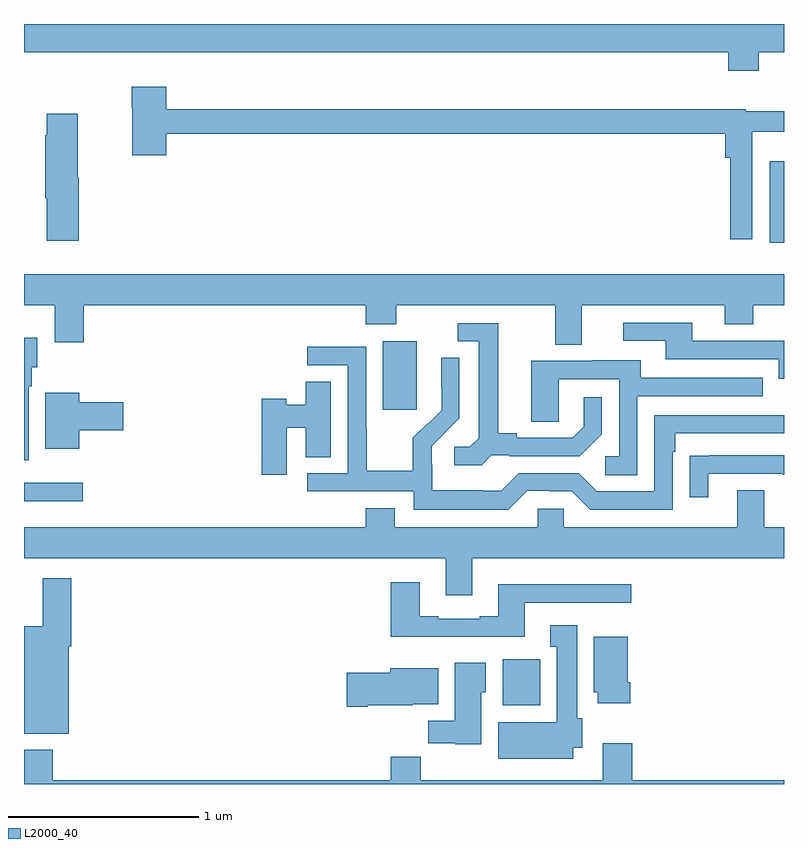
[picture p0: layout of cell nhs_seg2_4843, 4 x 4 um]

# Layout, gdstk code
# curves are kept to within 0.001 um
import gdstk
lib = gdstk.Library(unit=1e-6, precision=1e-09)
def R(c, l, rs):  # rectangles x0, y0, x1, y1
    for r in rs: c.add(gdstk.rectangle(r[:2], r[2:], *l))
def P(c, l, *ps):  # polygons
    for p in ps: c.add(gdstk.Polygon(p, *l))
L2000_40 = (2000, 40)

nhs_seg2_4843 = lib.new_cell('nhs_seg2_4843')
R(nhs_seg2_4843, L2000_40, [(377.519,628.214,377.716,628.456), (375,629.288,375.31,629.385), (376.889,629.769,377.068,630.13), (378.926,630.648,379,631.078)])
P(nhs_seg2_4843, L2000_40, [(378.867,631.652),(379,631.652),(379,631.8),(375,631.8),(375,631.652),(378.707,631.652),(378.707,631.553),(378.867,631.553)],
  [(378.834,631.232),(379,631.232),(379,631.342),(378.798,631.342),(378.798,631.351),(375.749,631.351),(375.749,631.471),(375.566,631.471),(375.566,631.358),(375.571,631.358),(375.571,631.11),(375.749,631.11),(375.749,631.222),(378.692,631.222),(378.692,631.097),(378.718,631.097),(378.718,630.666),(378.834,630.666)],
  [(375.287,630.993),(375.282,630.993),(375.282,631.327),(375.119,631.327),(375.119,631.214),(375.112,631.214),(375.112,630.883),(375.119,630.883),(375.119,630.66),(375.287,630.66)],
  [(377.935,630.32),(378.689,630.32),(378.689,630.221),(378.837,630.221),(378.837,630.32),(379,630.32),(379,630.484),(375,630.484),(375,630.32),(375.161,630.32),(375.161,630.126),(375.314,630.126),(375.314,630.32),(376.799,630.32),(376.799,630.221),(376.959,630.221),(376.959,630.32),(377.795,630.32),(377.795,630.112),(377.935,630.112)],
  [(379,630.132),(378.517,630.132),(378.517,630.228),(378.153,630.228),(378.153,630.132),(378.377,630.132),(378.377,630.036),(378.972,630.036),(378.972,629.933),(379,629.933)],
  [(377.46,629.529),(377.554,629.529),(377.554,629.526),(377.926,629.526),(378.042,629.642),(378.042,629.836),(377.945,629.836),(377.945,629.679),(377.888,629.622),(377.593,629.622),(377.593,629.645),(377.497,629.645),(377.497,630.225),(377.283,630.225),(377.283,630.129),(377.393,630.129),(377.393,629.621),(377.346,629.574),(377.265,629.574),(377.265,629.477),(377.408,629.477)],
  [(375.025,629.894),(375.04,629.894),(375.04,629.994),(375.07,629.994),(375.07,630.148),(375,630.148),(375,629.505),(375.025,629.505)],
  [(377.649,629.343),(377.765,629.343),(377.765,629.34),(377.883,629.34),(377.979,629.244),(378.414,629.244),(378.414,629.549),(378.427,629.549),(378.427,629.646),(379,629.646),(379,629.742),(378.318,629.742),(378.318,629.34),(378.015,629.34),(377.919,629.436),(377.604,629.436),(377.511,629.343),(377.411,629.343),(377.411,629.347),(377.148,629.347),(377.148,629.481),(377.146,629.481),(377.146,629.578),(377.292,629.726),(377.292,630.044),(377.196,630.044),(377.196,629.89),(377.198,629.89),(377.198,629.768),(377.127,629.697),(377.124,629.7),(377.047,629.623),(377.047,629.449),(376.803,629.449),(376.803,629.672),(376.8,629.672),(376.8,630.102),(376.491,630.102),(376.491,630.003),(376.704,630.003),(376.704,629.436),(376.491,629.436),(376.491,629.34),(377.052,629.34),(377.052,629.243),(377.549,629.243)],
  [(378.228,629.841),(378.887,629.841),(378.887,629.937),(378.247,629.937),(378.247,630.031),(377.993,630.031),(377.993,630.027),(377.669,630.027),(377.669,629.707),(377.814,629.707),(377.814,629.931),(378.132,629.931),(378.132,629.526),(378.06,629.526),(378.06,629.425),(378.228,629.425)],
  [(376.384,629.675),(376.484,629.675),(376.484,629.521),(376.615,629.521),(376.615,629.918),(376.484,629.918),(376.484,629.797),(376.38,629.797),(376.38,629.828),(376.25,629.828),(376.25,629.427),(376.384,629.427)],
  [(375.292,629.663),(375.523,629.663),(375.523,629.81),(375.292,629.81),(375.292,629.86),(375.113,629.86),(375.113,629.564),(375.292,629.564)],
  [(378.601,629.433),(378.991,629.433),(378.991,629.428),(379,629.428),(379,629.529),(378.607,629.529),(378.607,629.528),(378.505,629.528),(378.505,629.31),(378.601,629.31)],
  [(377.359,628.988),(379,628.988),(379,629.152),(378.895,629.152),(378.895,629.347),(378.755,629.347),(378.755,629.152),(377.841,629.152),(377.841,629.25),(377.703,629.25),(377.703,629.152),(376.951,629.152),(376.951,629.251),(376.799,629.251),(376.799,629.152),(375,629.152),(375,628.988),(377.219,628.988),(377.219,628.794),(377.359,628.794)],
  [(375.235,628.526),(375.248,628.526),(375.248,628.882),(375.098,628.882),(375.098,628.63),(375,628.63),(375,628.064),(375.235,628.064)],
  [(377.635,628.755),(378.196,628.755),(378.196,628.852),(377.495,628.852),(377.495,628.684),(377.399,628.684),(377.399,628.671),(377.179,628.671),(377.179,628.684),(377.083,628.684),(377.083,628.861),(376.931,628.861),(376.931,628.574),(377.635,628.574)],
  [(377.89,627.992),(377.938,627.992),(377.938,628.146),(377.911,628.146),(377.911,628.636),(377.771,628.636),(377.771,628.523),(377.804,628.523),(377.804,628.126),(377.495,628.126),(377.495,627.932),(377.89,627.932)],
  [(378.191,628.336),(378.178,628.336),(378.178,628.576),(377.999,628.576),(377.999,628.284),(378.02,628.284),(378.02,628.224),(378.191,628.224)],
  [(377.407,628.284),(377.431,628.284),(377.431,628.438),(377.267,628.438),(377.267,628.132),(377.128,628.132),(377.128,628.014),(377.271,628.014),(377.271,628.01),(377.407,628.01)],
  [(376.81,628.214),(377.046,628.214),(377.046,628.22),(377.179,628.22),(377.179,628.408),(376.928,628.408),(376.928,628.385),(376.698,628.385),(376.698,628.207),(376.81,628.207)],
  [(379,627.82),(378.2,627.82),(378.2,628.015),(378.047,628.015),(378.047,627.82),(377.087,627.82),(377.087,627.944),(376.931,627.944),(376.931,627.82),(375.152,627.82),(375.152,627.979),(375,627.979),(375,627.8),(379,627.8)])

lib.write_gds('nhs_seg2_4843.gds')
